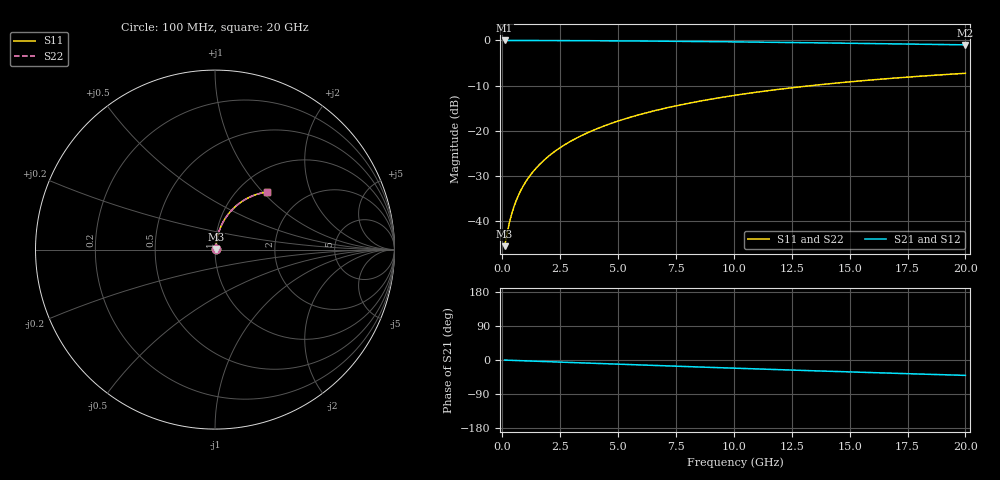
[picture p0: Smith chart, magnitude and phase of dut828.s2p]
! Touchstone file exported from HFSS 2026.1.0
!  File:  C:/ffzhzh/LocalFiles/Ansys_Project_Files/temp_train_TMRDL_828_1783156577_22436.aedt
!  Generated:  05:17:34 PM Jul  4, 2026
!  Design:  TMRDL
!  Project:  temp_train_TMRDL_828_1783156577_22436
! Variables:
!  h_bsmrdl = 2um
!  h_ox = 20um
!  h_rdl = 5um
!  h_sub = 80um
!  h_tmrdl = 2.64um
!  h_tsv = 80um
!  h_via = 3um
!  l_bsmrdl = 300um
!  l_sub = 941.7um
!  l_tmrdl = 541.7um
!  m_sub = 200um
!  pitch = 47.57um
!  r_tsv = 6um
!  s_tmrdl = 10um
!  w_bsmrdl = 18um
!  w_sub = 500um
!  w_tmrdl = 16.58um
!  x_tsv_center1 = 549.99um
!  x_tsv_center2 = 867.99um
!  x_tsv_center3 = 1426.27um
!  x_tsv_center4 = 1744.27um
!  x_tsv_center5 = 2302.55um
!  x_tsv_center6 = 2620.55um
# GHz S MA R 50.000000
! Terminal data exported
! Port[1] = TM_RDL1_1_T1
! Port[2] = TM_RDL1_1_T2
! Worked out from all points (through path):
!   200 points, 100 MHz to 20 GHz, reference 50 ohm
!   highest |S21| = -0.04 dB at 100 MHz (marker M1); lowest = -1.0 dB at 20 GHz (marker M2)
!   group delay of S21, straight-line fit = 5.65 ps
!   lowest |S11| = -45.5 dB at 100 MHz (marker M3), VSWR 1.01, Z = 50.5 + j0.279 ohm
!   |S11| at or under -10 dB: start of sweep to 13.36 GHz
!   |S22| runs from -45.5 to -7.3 dB; largest |S21 - S12| = 3.4e-15
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0.1  0.005335 31.2  0.9954 -0.2  0.9954 -0.2  0.005335 31.2
! Gamma 0 0 0 0
! Port Impedance 50 0 50 0
0.2  0.00722 49.7  0.9954 -0.5  0.9954 -0.5  0.00722 49.7
0.3  0.009522 59.5  0.9952 -0.7  0.9952 -0.7  0.009522 59.5
0.4  0.01197 65.1  0.9951 -0.9  0.9951 -0.9  0.01197 65.1
0.5  0.01446 68.7  0.9949 -1.1  0.9949 -1.1  0.01446 68.7
0.6  0.01697 71.2  0.9948 -1.4  0.9948 -1.4  0.01697 71.2
0.8  0.02201 74.3  0.9945 -1.8  0.9945 -1.8  0.02201 74.3
1.1  0.0296 76.9  0.9941 -2.5  0.9941 -2.5  0.0296 76.9
1.3  0.03468 77.9  0.9939 -2.9  0.9939 -2.9  0.03468 77.9
1.6  0.04231 78.8  0.9935 -3.6  0.9935 -3.6  0.04231 78.8
2.1  0.05508 79.3  0.9927 -4.7  0.9927 -4.7  0.05507 79.3
2.7  0.07038 79.2  0.9916 -6.0  0.9916 -6.0  0.07038 79.2
3.5  0.09071 78.4  0.9898 -7.8  0.9898 -7.8  0.09071 78.4
4.2  0.1084 77.3  0.9878 -9.3  0.9878 -9.3  0.1084 77.4
5  0.1283 76.0  0.9851 -11.0  0.9851 -11.0  0.1283 76.0
5.9  0.1505 74.4  0.9817 -13.0  0.9817 -13.0  0.1505 74.4
6.8  0.1722 72.7  0.9778 -14.9  0.9778 -14.9  0.1722 72.7
8.3  0.2075 69.7  0.9703 -18.1  0.9703 -18.1  0.2075 69.8
10.1  0.2481 66.2  0.9601 -21.8  0.9601 -21.8  0.2481 66.2
13.4  0.317 59.8  0.9385 -28.4  0.9385 -28.4  0.317 59.9
16.7  0.3783 53.7  0.9148 -34.6  0.9148 -34.6  0.3783 53.7
20  0.432 47.9  0.8904 -40.6  0.8904 -40.6  0.432 47.9
